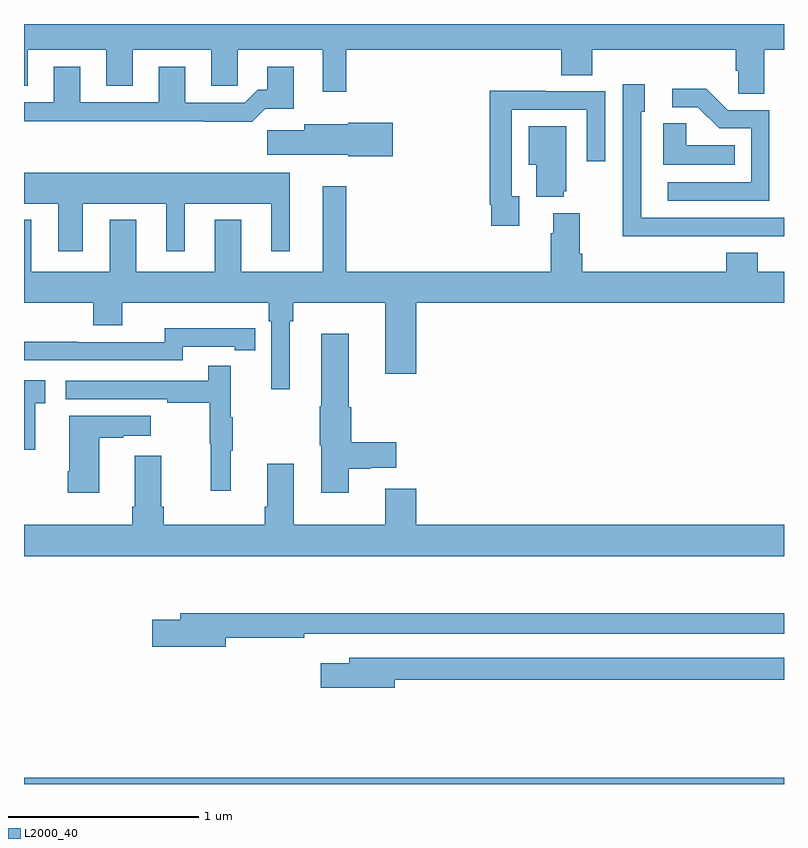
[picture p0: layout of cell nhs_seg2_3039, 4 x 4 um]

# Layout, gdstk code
import gdstk
lib = gdstk.Library(unit=1e-6, precision=1e-09)
def R(c, l, rs):  # rectangles x0, y0, x1, y1
    for r in rs: c.add(gdstk.rectangle(r[:2], r[2:], *l))
def P(c, l, *ps):  # polygons
    for p in ps: c.add(gdstk.Polygon(p, *l))
L2000_40 = (2000, 40)

nhs_seg2_3039 = lib.new_cell('nhs_seg2_3039')
R(nhs_seg2_3039, L2000_40, [(271,615.8,275,615.832)])
P(nhs_seg2_3039, L2000_40, [(271,619.474),(271.021,619.474),(271.021,619.664),(271.433,619.664),(271.433,619.474),(271.573,619.474),(271.573,619.664),(271.985,619.664),(271.985,619.474),(272.124,619.474),(272.124,619.664),(272.573,619.664),(272.573,619.443),(272.695,619.443),(272.695,619.664),(273.827,619.664),(273.827,619.531),(273.992,619.531),(273.992,619.664),(274.745,619.664),(274.745,619.555),(274.758,619.555),(274.758,619.432),(274.897,619.432),(274.897,619.664),(275,619.664),(275,619.8),(271,619.8)],
  [(272.27,619.355),(272.419,619.355),(272.419,619.576),(272.279,619.576),(272.279,619.453),(272.23,619.453),(272.163,619.386),(271.849,619.386),(271.849,619.576),(271.709,619.576),(271.709,619.389),(271.297,619.389),(271.297,619.576),(271.157,619.576),(271.157,619.389),(271,619.389),(271,619.288),(271.945,619.288),(271.945,619.286),(272.201,619.286)],
  [(274.613,618.684),(275,618.684),(275,618.78),(274.248,618.78),(274.248,619.338),(274.267,619.338),(274.267,619.483),(274.152,619.483),(274.152,618.989),(274.15,618.989),(274.15,618.683),(274.613,618.683)],
  [(274.923,619.347),(274.704,619.347),(274.591,619.46),(274.413,619.46),(274.413,619.362),(274.547,619.362),(274.658,619.251),(274.827,619.251),(274.827,618.966),(274.389,618.966),(274.389,618.87),(274.923,618.87)],
  [(273.607,618.894),(273.567,618.894),(273.567,619.35),(273.963,619.35),(273.963,619.077),(274.059,619.077),(274.059,619.446),(273.743,619.446),(273.743,619.448),(273.451,619.448),(273.451,618.85),(273.459,618.85),(273.459,618.738),(273.607,618.738)],
  [(272.941,619.281),(272.706,619.281),(272.706,619.273),(272.474,619.273),(272.474,619.241),(272.28,619.241),(272.28,619.112),(272.706,619.112),(272.706,619.103),(272.941,619.103)],
  [(274.742,619.162),(274.485,619.162),(274.485,619.277),(274.364,619.277),(274.364,619.058),(274.742,619.058)],
  [(273.842,618.921),(273.853,618.921),(273.853,619.261),(273.656,619.261),(273.656,619.058),(273.695,619.058),(273.695,618.89),(273.842,618.89)],
  [(271.309,618.854),(271.748,618.854),(271.748,618.603),(271.846,618.603),(271.846,618.854),(272.3,618.854),(272.3,618.603),(272.398,618.603),(272.398,619.018),(271,619.018),(271,618.854),(271.181,618.854),(271.181,618.603),(271.309,618.603)],
  [(272.398,618.236),(272.417,618.236),(272.417,618.332),(272.9,618.332),(272.9,617.958),(273.064,617.958),(273.064,618.332),(275,618.332),(275,618.496),(274.862,618.496),(274.862,618.595),(274.697,618.595),(274.697,618.496),(273.938,618.496),(273.938,618.592),(273.925,618.592),(273.925,618.805),(273.785,618.805),(273.785,618.698),(273.773,618.698),(273.773,618.496),(272.695,618.496),(272.695,618.946),(272.573,618.946),(272.573,618.496),(272.143,618.496),(272.143,618.769),(272.003,618.769),(272.003,618.496),(271.591,618.496),(271.591,618.769),(271.451,618.769),(271.451,618.496),(271.039,618.496),(271.039,618.769),(271,618.769),(271,618.332),(271.364,618.332),(271.364,618.215),(271.516,618.215),(271.516,618.332),(272.288,618.332),(272.288,618.236),(272.301,618.236),(272.301,617.877),(272.398,617.877)],
  [(271.836,618.102),(272.108,618.102),(272.108,618.082),(272.216,618.082),(272.216,618.198),(272.108,618.198),(272.108,618.199),(271.74,618.199),(271.74,618.126),(271.28,618.126),(271.28,618.128),(271,618.128),(271,618.03),(271.836,618.03)],
  [(272.71,617.458),(272.826,617.458),(272.826,617.465),(272.959,617.465),(272.959,617.6),(272.723,617.6),(272.723,617.783),(272.71,617.783),(272.71,618.169),(272.564,618.169),(272.564,617.789),(272.557,617.789),(272.557,617.583),(272.564,617.583),(272.564,617.334),(272.71,617.334)],
  [(272.087,617.555),(272.098,617.555),(272.098,617.729),(272.087,617.729),(272.087,618.001),(271.969,618.001),(271.969,617.922),(271.221,617.922),(271.221,617.826),(271.753,617.826),(271.753,617.806),(271.977,617.806),(271.977,617.592),(271.984,617.592),(271.984,617.343),(272.087,617.343)],
  [(271.058,617.805),(271.111,617.805),(271.111,617.926),(271,617.926),(271,617.559),(271.058,617.559)],
  [(271.396,617.623),(271.523,617.623),(271.523,617.633),(271.666,617.633),(271.666,617.737),(271.238,617.737),(271.238,617.446),(271.231,617.446),(271.231,617.334),(271.396,617.334)],
  [(275,617.164),(273.064,617.164),(273.064,617.353),(272.9,617.353),(272.9,617.164),(272.419,617.164),(272.419,617.485),(272.279,617.485),(272.279,617.26),(272.267,617.26),(272.267,617.164),(271.736,617.164),(271.736,617.26),(271.723,617.26),(271.723,617.527),(271.583,617.527),(271.583,617.26),(271.571,617.26),(271.571,617.164),(271,617.164),(271,617),(275,617)],
  [(272.062,616.57),(272.474,616.57),(272.474,616.59),(275,616.59),(275,616.699),(271.823,616.699),(271.823,616.665),(271.674,616.665),(271.674,616.523),(272.062,616.523)],
  [(272.95,616.348),(275,616.348),(275,616.464),(272.711,616.464),(272.711,616.435),(272.562,616.435),(272.562,616.306),(272.95,616.306)])

lib.write_gds('nhs_seg2_3039.gds')
